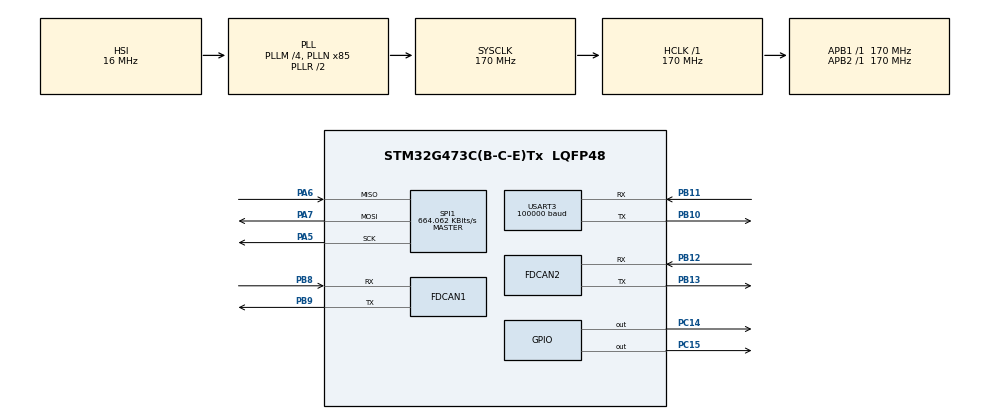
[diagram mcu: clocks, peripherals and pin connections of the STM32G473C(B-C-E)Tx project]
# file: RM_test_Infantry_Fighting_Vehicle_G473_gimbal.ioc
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Dma.Request0=USART3_RX
Dma.USART3_RX.0.Direction=DMA_PERIPH_TO_MEMORY
Dma.USART3_RX.0.EventEnable=DISABLE
Dma.USART3_RX.0.Instance=DMA1_Channel1
Dma.USART3_RX.0.MemDataAlignment=DMA_MDATAALIGN_BYTE
Dma.USART3_RX.0.MemInc=DMA_MINC_ENABLE
Dma.USART3_RX.0.Mode=DMA_CIRCULAR
Dma.USART3_RX.0.PeriphDataAlignment=DMA_PDATAALIGN_BYTE
Dma.USART3_RX.0.PeriphInc=DMA_PINC_DISABLE
Dma.USART3_RX.0.Polarity=HAL_DMAMUX_REQ_GEN_RISING
Dma.USART3_RX.0.Priority=DMA_PRIORITY_HIGH
Dma.USART3_RX.0.RequestNumber=1
Dma.USART3_RX.0.SignalID=NONE
Dma.USART3_RX.0.SyncEnable=DISABLE
Dma.USART3_RX.0.SyncPolarity=HAL_DMAMUX_SYNC_NO_EVENT
Dma.USART3_RX.0.SyncRequestNumber=1
Dma.USART3_RX.0.SyncSignalID=NONE
FDCAN1.CalculateBaudRateNominal=1000000
FDCAN1.CalculateTimeBitNominal=1000
FDCAN1.CalculateTimeQuantumNominal=100.0
FDCAN1.NominalPrescaler=17
FDCAN1.NominalTimeSeg1=6
FDCAN1.NominalTimeSeg2=3
FDCAN2.CalculateBaudRateNominal=1000000
FDCAN2.CalculateTimeBitNominal=1000
FDCAN2.CalculateTimeQuantumNominal=100.0
FDCAN2.NominalPrescaler=17
FDCAN2.NominalTimeSeg1=3
FDCAN2.NominalTimeSeg2=6
Mcu.Family=STM32G4
Mcu.Name=STM32G473C(B-C-E)Tx
Mcu.Package=LQFP48
NVIC.DMA1_Channel1_IRQn=true\:0\:0\:false\:false\:true\:false\:true\:true
NVIC.FDCAN1_IT0_IRQn=true\:0\:0\:false\:false\:true\:true\:true\:true
NVIC.FDCAN2_IT0_IRQn=true\:0\:0\:false\:false\:true\:true\:true\:true
NVIC.FDCAN2_IT1_IRQn=true\:0\:0\:false\:false\:true\:true\:true\:true
NVIC.PriorityGroup=NVIC_PRIORITYGROUP_4
NVIC.SPI1_IRQn=true\:0\:0\:false\:false\:true\:true\:true\:true
NVIC.TIM1_UP_TIM16_IRQn=true\:0\:0\:false\:false\:true\:true\:true\:true
NVIC.USART3_IRQn=true\:0\:0\:false\:false\:true\:true\:true\:true
PA13.Mode=Serial_Wire
PA13.Signal=SYS_JTMS-SWDIO
PA14.Mode=Serial_Wire
PA14.Signal=SYS_JTCK-SWCLK
PA5.Mode=Full_Duplex_Master
PA5.Signal=SPI1_SCK
PA6.Mode=Full_Duplex_Master
PA6.Signal=SPI1_MISO
PA7.Mode=Full_Duplex_Master
PA7.Signal=SPI1_MOSI
PB10.Mode=Asynchronous
PB10.Signal=USART3_TX
PB11.Mode=Asynchronous
PB11.Signal=USART3_RX
PB12.Mode=FDCAN_Activate
PB12.Signal=FDCAN2_RX
PB13.Mode=FDCAN_Activate
PB13.Signal=FDCAN2_TX
PB8-BOOT0.Mode=FDCAN_Activate
PB8-BOOT0.Signal=FDCAN1_RX
PB9.Mode=FDCAN_Activate
PB9.Signal=FDCAN1_TX
PC14-OSC32_IN.GPIO_PuPd=GPIO_PULLUP
PC14-OSC32_IN.PinState=GPIO_PIN_SET
PC14-OSC32_IN.Signal=GPIO_Output
PC15-OSC32_OUT.GPIO_PuPd=GPIO_PULLUP
PC15-OSC32_OUT.PinState=GPIO_PIN_SET
PC15-OSC32_OUT.Signal=GPIO_Output
PF0-OSC_IN.Mode=HSE-External-Oscillator
PF0-OSC_IN.Signal=RCC_OSC_IN
PF1-OSC_OUT.Mode=HSE-External-Oscillator
PF1-OSC_OUT.Signal=RCC_OSC_OUT
ProjectManager.HeapSize=0x200
ProjectManager.StackSize=0x400
ProjectManager.TargetToolchain=MDK-ARM V5.32
RCC.ADC12Freq_Value=170000000
RCC.ADC345Freq_Value=170000000
RCC.AHBFreq_Value=170000000
RCC.APB1Freq_Value=170000000
RCC.APB1TimFreq_Value=170000000
RCC.APB2Freq_Value=170000000
RCC.APB2TimFreq_Value=170000000
RCC.CortexFreq_Value=170000000
RCC.EXTERNAL_CLOCK_VALUE=12288000
RCC.HCLKFreq_Value=170000000
RCC.HSE_VALUE=8000000
RCC.HSI48_VALUE=48000000
RCC.HSI_VALUE=16000000
RCC.LSE_VALUE=32768
RCC.PLLM=RCC_PLLM_DIV4
RCC.PLLN=85
RCC.SYSCLKFreq_VALUE=170000000
RCC.SYSCLKSource=RCC_SYSCLKSOURCE_PLLCLK
RCC.USBFreq_Value=170000000
RCC.VCOOutputFreq_Value=340000000
SPI1.BaudRatePrescaler=SPI_BAUDRATEPRESCALER_256
SPI1.CLKPhase=SPI_PHASE_2EDGE
SPI1.CLKPolarity=SPI_POLARITY_HIGH
SPI1.CalculateBaudRate=664.062 KBits/s
SPI1.DataSize=SPI_DATASIZE_8BIT
SPI1.Direction=SPI_DIRECTION_2LINES
SPI1.Mode=SPI_MODE_MASTER
SPI1.VirtualType=VM_MASTER
TIM1.PeriodNoDither=1000-1
TIM1.Prescaler=170-1
USART3.BaudRate=100000
USART3.Parity=PARITY_EVEN
USART3.RxPinLevelInvertParam=ADVFEATURE_RXINV_ENABLE
USART3.VirtualMode-Asynchronous=VM_ASYNC
USART3.WordLength=WORDLENGTH_9B
VP_SYS_VS_DBSignals.Mode=DisableDeadBatterySignals
VP_TIM1_VS_ClockSourceINT.Mode=Internal
board=custom

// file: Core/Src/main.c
/* USER CODE BEGIN Header */
/**
  ******************************************************************************
  * @file           : main.c
  * @brief          : Main program body
  ******************************************************************************
  * @attention
  *
  * Copyright (c) 2024 STMicroelectronics.
  * All rights reserved.
  *
  * This software is licensed under terms that can be found in the LICENSE file
  * in the root directory of this software component.
  * If no LICENSE file comes with this software, it is provided AS-IS.
  *
  ******************************************************************************
  */
/* USER CODE END Header */
#include "main.h"
#include "dma.h"
#include "fdcan.h"
#include "spi.h"
#include "tim.h"
#include "usart.h"
#include "gpio.h"

/* USER CODE BEGIN Includes */
#include "DR16.h"
#include "pid.h"
#include "motor.h"
#include "motor_message.h"
#include "BMI.h"

#include "string.h"

/* USER CODE END Includes */

/* USER CODE BEGIN PD */
#define rxBufferLen 18
#define __HAL_DMA_SET_COUNTER(__HANDLE__, __COUNTER__) ((__HANDLE__)->Instance->CNDTR = (uint16_t)(__COUNTER__))

#define CAN_6020_M1_ID 0x205 //yaw
#define CAN_6020_M2_ID 0x206 //pitch

/* USER CODE END PD */

/* USER CODE BEGIN PV */
char DR16Buffer[rxBufferLen] ;
Controller controller ;//DT7传过来的控制信息(all)
motor_tasks Motor_Tasks ;
/* USER CODE END PV */

void SystemClock_Config(void);

/* USER CODE BEGIN 0 */

void UART_InitDMAReceive(void);//空闲中断初始�?

//DMA空闲中断回调函数
void UART_DMAIdleCallback( UART_HandleTypeDef *huart ) {
	if( huart == &huart3 ) {
		__HAL_DMA_DISABLE(huart->hdmarx) ;//停止DMA接收
		int dataLen = rxBufferLen-__HAL_DMA_GET_COUNTER(huart->hdmarx);

		DR16_command_process(&controller,(uint8_t*)DR16Buffer);//获取数据
		for(int i = 1 ; i <= 1000 ; ++ i );

		//
		int8_t DR16Buffer_chasis[8] ;
		gimbal_chasis_message_transform(&controller,DR16Buffer_chasis);
		gimbal_chasis_message_send(&hfdcan2,(int8_t*)DR16Buffer_chasis );
		for(int i = 1 ; i <= 100000 ; ++ i );

		//memset(DR16Buffer,0,sizeof(DR16Buffer));
		gimbal_control(&controller,&Motor_Tasks);
		//chasis_moving_encoder( &Motor_Tasks , &controller );

		//重启DMA接收
		__HAL_DMA_SET_COUNTER(huart->hdmarx , rxBufferLen );
		__HAL_DMA_ENABLE(huart->hdmarx) ;//要先重设DMA计数器，再使能DMA

	}
}

void HAL_FDCAN_RxFifo0Callback(FDCAN_HandleTypeDef *hfdcan , uint32_t RxFifo0ITs )  //FDCAN新消息中�?
{
    FDCAN_RxHeaderTypeDef rxHeader;

    // �? FIFO0 读取消息
	if(hfdcan == &hfdcan1 ) {

			uint8_t rxData[8]; // 根据数据长度调整
			if (HAL_FDCAN_GetRxMessage(hfdcan, FDCAN_RX_FIFO0, &rxHeader, rxData) == HAL_OK)
			{
					// 处理接收到的数据
					// 例如，可以根�? rxHeader.ID 进行消息分类
				switch (rxHeader.Identifier ) {

					case CAN_6020_M2_ID :
					{
						fdcan_message_get(&Motor_Tasks.gimbal_pitch_motor,rxData );
						break;
					}

					default:
					{
						break ;
					}
				}
			}
		}

}

void Init_Motors() {

	/*Clear_Cascade_PID( &Motor_Tasks.gimbal_yaw_pid) ;//PID清理
	Init_Cascade_PID( &Motor_Tasks.gimbal_yaw_pid );//PID初始�?
	Motor_Tasks.gimbal_yaw_motor.ex_angle = 0 ;
	Motor_Tasks.gimbal_yaw_motor.ex_speed = 0 ;*/

	Clear_Cascade_PID( &Motor_Tasks.gimbal_pitch_pid) ;//PID清理
	Init_Cascade_PID( &Motor_Tasks.gimbal_pitch_pid );//PID初始�?
	Motor_Tasks.gimbal_pitch_motor.ex_angle = 180 ;
	Motor_Tasks.gimbal_pitch_motor.ex_speed = 0 ;
}

void Init_can_filter() {

	FDCAN_FilterTypeDef FDCAN1_RXFilter;
	FDCAN1_RXFilter.IdType=FDCAN_STANDARD_ID;
	FDCAN1_RXFilter.FilterIndex=0;
	FDCAN1_RXFilter.FilterType=FDCAN_FILTER_MASK;
	FDCAN1_RXFilter.FilterConfig=FDCAN_FILTER_TO_RXFIFO0;
	FDCAN1_RXFilter.FilterID1=0x0000;
  FDCAN1_RXFilter.FilterID2=0x0000;
	HAL_FDCAN_ConfigFilter(&hfdcan1,&FDCAN1_RXFilter);
	HAL_FDCAN_Start(&hfdcan1);
  HAL_FDCAN_ActivateNotification(&hfdcan1,FDCAN_IT_RX_FIFO0_NEW_MESSAGE,0);

	FDCAN_FilterTypeDef FDCAN2_RXFilter;
	FDCAN2_RXFilter.IdType=FDCAN_STANDARD_ID;
	FDCAN2_RXFilter.FilterIndex=0;
	FDCAN2_RXFilter.FilterType=FDCAN_FILTER_MASK;
	FDCAN2_RXFilter.FilterConfig=FDCAN_FILTER_TO_RXFIFO0;
	FDCAN2_RXFilter.FilterID1=0x0000;
  FDCAN2_RXFilter.FilterID2=0x0000;
	HAL_FDCAN_ConfigFilter(&hfdcan2,&FDCAN2_RXFilter);
	HAL_FDCAN_Start(&hfdcan2);
  HAL_FDCAN_ActivateNotification(&hfdcan2,FDCAN_IT_RX_FIFO0_NEW_MESSAGE,0);

}

/* USER CODE END 0 */

int main(void)
{

  /* MCU Configuration--------------------------------------------------------*/

  /* Reset of all peripherals, Initializes the Flash interface and the Systick. */
  HAL_Init();

  /* Configure the system clock */
  SystemClock_Config();

  /* Initialize all configured peripherals */
  MX_GPIO_Init();
  MX_DMA_Init();
  MX_FDCAN1_Init();
  MX_FDCAN2_Init();
  MX_USART3_UART_Init();
  MX_SPI1_Init();
  MX_TIM1_Init();
  /* USER CODE BEGIN 2 */
	UART_InitDMAReceive();
	Init_Motors();
	Init_BMI();
	//Init_can_filter();
  /* USER CODE END 2 */

  /* Infinite loop */
  /* USER CODE BEGIN WHILE */
  while (1)
  {
		gimbal_motor_pid_excute(&Motor_Tasks) ;
		gimbal_motor_message_send(&hfdcan1 ,&Motor_Tasks );
		//gimbal_chasis_message_send(&hfdcan2,(int8_t*)DR16Buffer);
		for(int i = 1 ; i <= 10000 ; ++ i );

    /* USER CODE END WHILE */

  }
}

void SystemClock_Config(void)
{
  RCC_OscInitTypeDef RCC_OscInitStruct = {0};
  RCC_ClkInitTypeDef RCC_ClkInitStruct = {0};

  /** Configure the main internal regulator output voltage
  */
  HAL_PWREx_ControlVoltageScaling(PWR_REGULATOR_VOLTAGE_SCALE1_BOOST);

  /** Initializes the RCC Oscillators according to the specified parameters
  * in the RCC_OscInitTypeDef structure.
  */
  RCC_OscInitStruct.OscillatorType = RCC_OSCILLATORTYPE_HSI;
  RCC_OscInitStruct.HSIState = RCC_HSI_ON;
  RCC_OscInitStruct.HSICalibrationValue = RCC_HSICALIBRATION_DEFAULT;
  RCC_OscInitStruct.PLL.PLLState = RCC_PLL_ON;
  RCC_OscInitStruct.PLL.PLLSource = RCC_PLLSOURCE_HSI;
  RCC_OscInitStruct.PLL.PLLM = RCC_PLLM_DIV4;
  RCC_OscInitStruct.PLL.PLLN = 85;
  RCC_OscInitStruct.PLL.PLLP = RCC_PLLP_DIV2;
  RCC_OscInitStruct.PLL.PLLQ = RCC_PLLQ_DIV2;
  RCC_OscInitStruct.PLL.PLLR = RCC_PLLR_DIV2;
  if (HAL_RCC_OscConfig(&RCC_OscInitStruct) != HAL_OK)
  {
    Error_Handler();
  }

  /** Initializes the CPU, AHB and APB buses clocks
  */
  RCC_ClkInitStruct.ClockType = RCC_CLOCKTYPE_HCLK|RCC_CLOCKTYPE_SYSCLK
                              |RCC_CLOCKTYPE_PCLK1|RCC_CLOCKTYPE_PCLK2;
  RCC_ClkInitStruct.SYSCLKSource = RCC_SYSCLKSOURCE_PLLCLK;
  RCC_ClkInitStruct.AHBCLKDivider = RCC_SYSCLK_DIV1;
  RCC_ClkInitStruct.APB1CLKDivider = RCC_HCLK_DIV1;
  RCC_ClkInitStruct.APB2CLKDivider = RCC_HCLK_DIV1;

  if (HAL_RCC_ClockConfig(&RCC_ClkInitStruct, FLASH_LATENCY_4) != HAL_OK)
  {
    Error_Handler();
  }
}

/* USER CODE BEGIN 4 */

void UART_InitDMAReceive(void ) {
	__HAL_UART_CLEAR_IDLEFLAG(&huart3) ;
	__HAL_UART_ENABLE_IT( &huart3 , UART_IT_IDLE );

	HAL_UART_Receive_DMA( &huart3 , (uint8_t*)DR16Buffer , rxBufferLen );
}

/* USER CODE END 4 */

void Error_Handler(void)
{
  __disable_irq();
  while (1)
  {
  }
}
